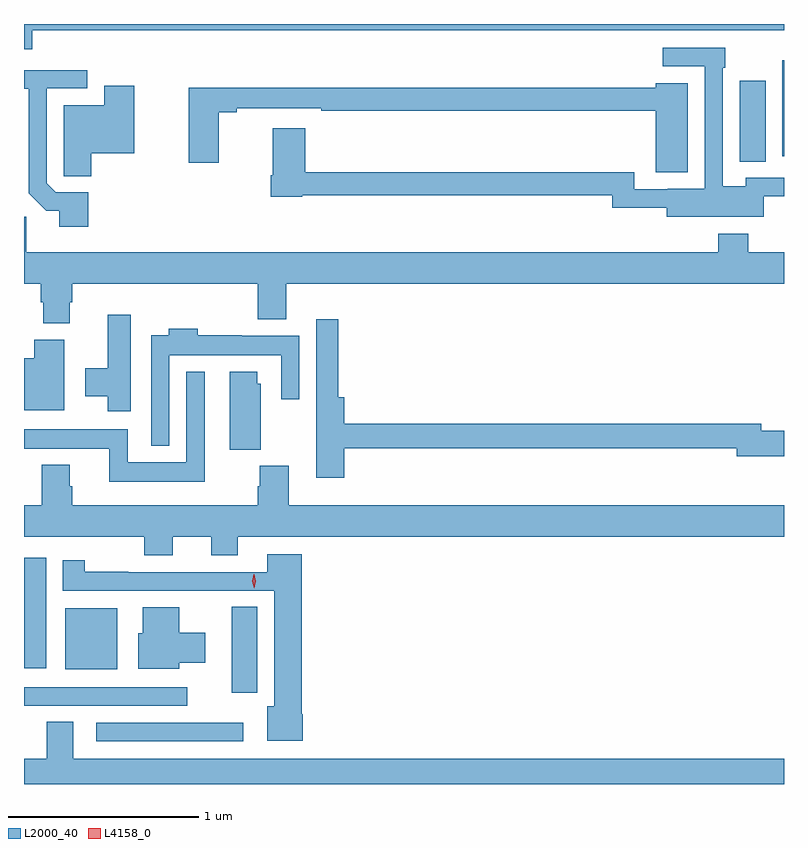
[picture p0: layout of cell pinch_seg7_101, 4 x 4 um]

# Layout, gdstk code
import gdstk
lib = gdstk.Library(unit=1e-6, precision=1e-09)
def R(c, l, rs):  # rectangles x0, y0, x1, y1
    for r in rs: c.add(gdstk.rectangle(r[:2], r[2:], *l))
def P(c, l, *ps):  # polygons
    for p in ps: c.add(gdstk.Polygon(p, *l))
L2000_40 = (2000, 40)
L4158_0 = (4158, 0)

pinch_seg7_101 = lib.new_cell('pinch_seg7_101')
R(pinch_seg7_101, L2000_40, [(938.085,1019.52,938.857,1019.616), (937.704,1019.706,938.563,1019.802), (938.798,1019.775,938.932,1020.227), (937.922,1019.897,938.194,1020.22), (937.704,1019.903,937.822,1020.484), (941.471,1022.569,941.608,1022.995), (941.696,1022.598,941.704,1023.103)])
P(pinch_seg7_101, L2000_40, [(937.748,1023.26),(941.704,1023.26),(941.704,1023.294),(937.704,1023.294),(937.704,1023.161),(937.748,1023.161)],
  [(941.598,1022.387),(941.704,1022.387),(941.704,1022.484),(941.502,1022.484),(941.502,1022.44),(941.382,1022.44),(941.382,1023.065),(941.395,1023.065),(941.395,1023.168),(941.067,1023.168),(941.067,1023.072),(941.286,1023.072),(941.286,1022.428),(941.091,1022.428),(941.091,1022.424),(940.917,1022.424),(940.917,1022.515),(939.185,1022.515),(939.185,1022.746),(939.014,1022.746),(939.014,1022.497),(939.002,1022.497),(939.002,1022.386),(939.168,1022.386),(939.168,1022.394),(940.801,1022.394),(940.801,1022.326),(941.087,1022.326),(941.087,1022.279),(941.598,1022.279)],
  [(938.042,1022.409),(937.872,1022.409),(937.824,1022.457),(937.824,1022.955),(938.038,1022.955),(938.038,1023.051),(937.704,1023.051),(937.704,1022.954),(937.728,1022.954),(937.728,1022.403),(937.821,1022.311),(937.889,1022.311),(937.889,1022.226),(938.042,1022.226)],
  [(941.197,1022.983),(941.03,1022.983),(941.03,1022.959),(938.57,1022.959),(938.57,1022.565),(938.728,1022.565),(938.728,1022.83),(938.824,1022.83),(938.824,1022.85),(939.268,1022.85),(939.268,1022.838),(941.03,1022.838),(941.03,1022.513),(941.197,1022.513)],
  [(938.057,1022.615),(938.284,1022.615),(938.284,1022.968),(938.126,1022.968),(938.126,1022.866),(937.913,1022.866),(937.913,1022.602),(937.914,1022.602),(937.914,1022.494),(938.057,1022.494)],
  [(937.945,1021.83),(937.958,1021.83),(937.958,1021.928),(938.933,1021.928),(938.933,1021.739),(939.085,1021.739),(939.085,1021.928),(941.704,1021.928),(941.704,1022.092),(941.517,1022.092),(941.517,1022.191),(941.357,1022.191),(941.357,1022.092),(937.716,1022.092),(937.716,1022.28),(937.704,1022.28),(937.704,1021.928),(937.793,1021.928),(937.793,1021.83),(937.805,1021.83),(937.805,1021.718),(937.945,1021.718)],
  [(938.266,1021.765),(938.144,1021.765),(938.144,1021.482),(938.027,1021.482),(938.027,1021.334),(938.144,1021.334),(938.144,1021.257),(938.266,1021.257)],
  [(939.389,1021.062),(941.456,1021.062),(941.456,1021.019),(941.704,1021.019),(941.704,1021.154),(941.584,1021.154),(941.584,1021.19),(939.389,1021.19),(939.389,1021.33),(939.359,1021.33),(939.359,1021.741),(939.243,1021.741),(939.243,1021.167),(939.242,1021.167),(939.242,1020.906),(939.389,1020.906)],
  [(938.469,1021.55),(939.057,1021.55),(939.057,1021.32),(939.153,1021.32),(939.153,1021.654),(938.849,1021.654),(938.849,1021.657),(938.618,1021.657),(938.618,1021.69),(938.465,1021.69),(938.465,1021.657),(938.373,1021.657),(938.373,1021.073),(938.469,1021.073)],
  [(937.915,1021.633),(937.757,1021.633),(937.757,1021.534),(937.704,1021.534),(937.704,1021.262),(937.915,1021.262)],
  [(938.656,1021.465),(938.559,1021.465),(938.559,1020.988),(938.25,1020.988),(938.25,1021.162),(937.704,1021.162),(937.704,1021.058),(938.153,1021.058),(938.153,1020.884),(938.656,1020.884)],
  [(938.95,1021.401),(938.932,1021.401),(938.932,1021.465),(938.786,1021.465),(938.786,1021.054),(938.95,1021.054)],
  [(938.488,1020.596),(938.69,1020.596),(938.69,1020.497),(938.83,1020.497),(938.83,1020.596),(941.704,1020.596),(941.704,1020.76),(939.098,1020.76),(939.098,1020.969),(938.945,1020.969),(938.945,1020.86),(938.933,1020.86),(938.933,1020.76),(937.958,1020.76),(937.958,1020.861),(937.945,1020.861),(937.945,1020.973),(937.798,1020.973),(937.798,1020.76),(937.704,1020.76),(937.704,1020.596),(938.336,1020.596),(938.336,1020.497),(938.488,1020.497)],
  [(939.172,1019.661),(939.167,1019.661),(939.167,1020.502),(938.984,1020.502),(938.984,1020.408),(938.252,1020.408),(938.252,1020.41),(938.025,1020.41),(938.025,1020.472),(937.907,1020.472),(937.907,1020.312),(939.02,1020.312),(939.02,1019.704),(938.984,1019.704),(938.984,1019.522),(939.172,1019.522)],
  [(938.521,1019.933),(938.659,1019.933),(938.659,1020.091),(938.521,1020.091),(938.521,1020.223),(938.33,1020.223),(938.33,1020.087),(938.306,1020.087),(938.306,1019.9),(938.521,1019.9)],
  [(941.704,1019.428),(937.963,1019.428),(937.963,1019.621),(937.823,1019.621),(937.823,1019.428),(937.704,1019.428),(937.704,1019.294),(941.704,1019.294)])
P(pinch_seg7_101, L4158_0, [(938.915,1020.325),(938.905,1020.361),(938.914,1020.397),(938.915,1020.397),(938.915,1020.397),(938.925,1020.361),(938.916,1020.325),(938.916,1020.325)])

lib.write_gds('pinch_seg7_101.gds')
